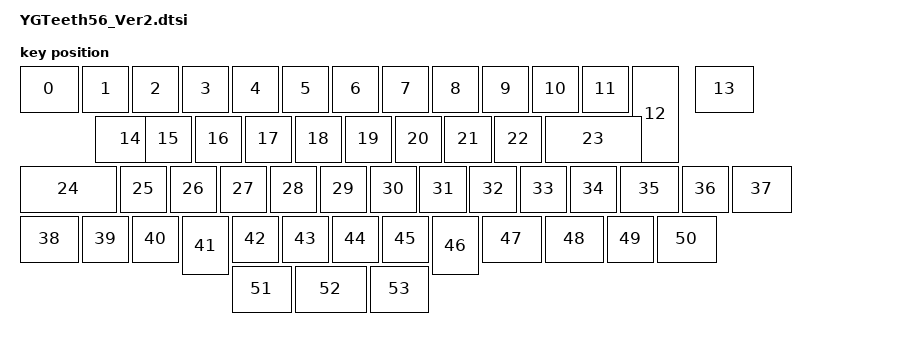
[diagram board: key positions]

#include <physical_layouts.dtsi>

/ {
    ygteeth56_Ver2_layout: ygteeth56_Ver2_layout {
        compatible = "zmk,physical-layout";
        display-name = "YGTeeth56_Ver2";
        transform = <&default_transform>;
        kscan = <&kscan0>;

        keys  //                     w   h  x     y     rot    rx    ry
            = <&key_physical_attrs 125 100  0     0     0     0     0>
            , <&key_physical_attrs 100 100  125   0     0     0     0> //Q
            , <&key_physical_attrs 100 100  225   0     0     0     0> 
            , <&key_physical_attrs 100 100  325   0     0     0     0>
            , <&key_physical_attrs 100 100  425   0     0     0     0>
            , <&key_physical_attrs 100 100  525   0     0     0     0>
            , <&key_physical_attrs 100 100  625   0     0     0     0>
            , <&key_physical_attrs 100 100  725   0     0     0     0>
            , <&key_physical_attrs 100 100  825   0     0     0     0>
            , <&key_physical_attrs 100 100  925   0     0     0     0>
            , <&key_physical_attrs 100 100  1025  0     0     0     0>
            , <&key_physical_attrs 100 100  1125  0     0     0     0>
            , <&key_physical_attrs 100 200  1225  0     0     0     0> //R Bracket
            , <&key_physical_attrs 125 100  1350  0     0     0     0> //Back Space
            , <&key_physical_attrs 150 100  150   100   0     0     0> //Caps
            , <&key_physical_attrs 100 100  250   100   0     0     0> //A
            , <&key_physical_attrs 100 100  350   100   0     0     0>
            , <&key_physical_attrs 100 100  450   100   0     0     0>
            , <&key_physical_attrs 100 100  550   100   0     0     0>
            , <&key_physical_attrs 100 100  650   100   0     0     0>
            , <&key_physical_attrs 100 100  750   100   0     0     0>
            , <&key_physical_attrs 100 100  850   100   0     0     0> 
            , <&key_physical_attrs 100 100  950   100   0     0     0> 
            , <&key_physical_attrs 200 100  1050  100   0     0     0> //Enter
            , <&key_physical_attrs 200 100  0     200   0     0     0> //Left Shift
            , <&key_physical_attrs 100 100  200   200   0     0     0> //Z
            , <&key_physical_attrs 100 100  300   200   0     0     0> 
            , <&key_physical_attrs 100 100  400   200   0     0     0> 
            , <&key_physical_attrs 100 100  500   200   0     0     0> 
            , <&key_physical_attrs 100 100  600   200   0     0     0> 
            , <&key_physical_attrs 100 100  700   200   0     0     0> 
            , <&key_physical_attrs 100 100  800   200   0     0     0> //M
            , <&key_physical_attrs 100 100  900   200   0     0     0>
            , <&key_physical_attrs 100 100  1000  200   0     0     0>
            , <&key_physical_attrs 100 100  1100  200   0     0     0> //?
            , <&key_physical_attrs 125 100  1200  200   0     0     0>
            , <&key_physical_attrs 100 100  1325  200   0     0     0>
            , <&key_physical_attrs 125 100  1425  200   0     0     0>
            , <&key_physical_attrs 125 100  0     300   0     0     0> //Ctrl
            , <&key_physical_attrs 100 100  125   300   0     0     0>
            , <&key_physical_attrs 100 100  225   300   0     0     0> //Alt
            , <&key_physical_attrs 100 125  325   300   0     0     0> //Ret
            , <&key_physical_attrs 100 100  425   300   0     0     0> //-
            , <&key_physical_attrs 100 100  525   300   0     0     0> //+
            , <&key_physical_attrs 100 100  625   300   0     0     0> //*
            , <&key_physical_attrs 100 100  725   300   0     0     0> //divide
            , <&key_physical_attrs 100 125  825   300   0     0     0> //RAlt
            , <&key_physical_attrs 125 100  925   300   0     0     0> 
            , <&key_physical_attrs 125 100  1050  300   0     0     0> //Left
            , <&key_physical_attrs 100 100  1175  300   0     0     0>
            , <&key_physical_attrs 125 100  1275  300   0     0     0>
            , <&key_physical_attrs 125 100  425   400   0     0     0>
            , <&key_physical_attrs 150 100  550   400   0     0     0>   
            , <&key_physical_attrs 125 100  700   400   0     0     0>
            ;
    };
};
